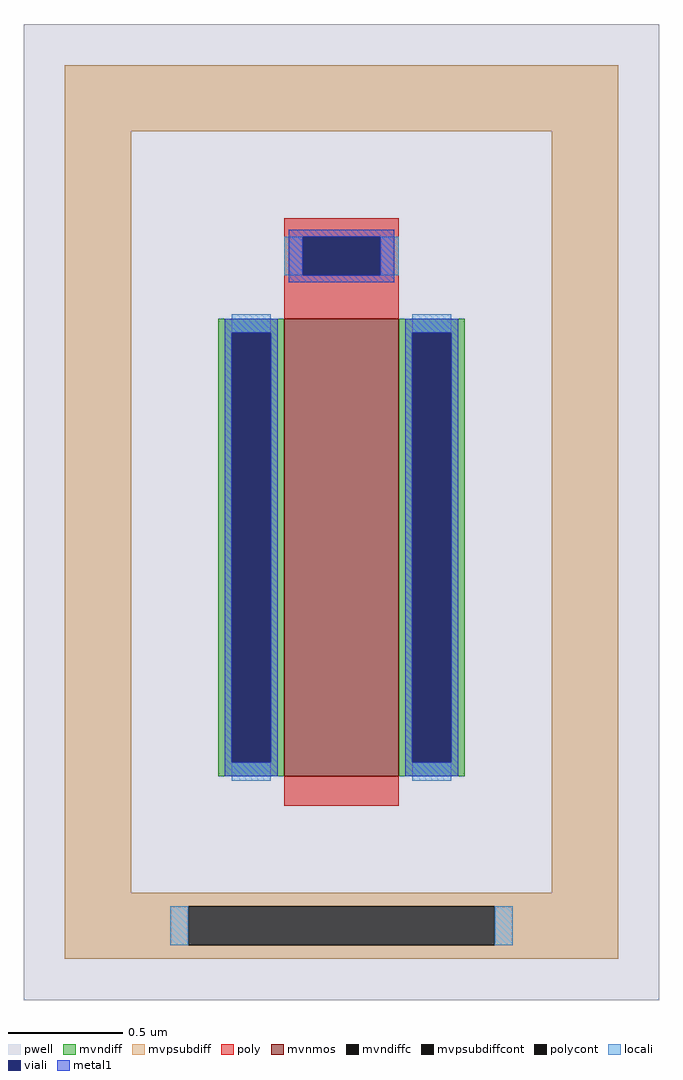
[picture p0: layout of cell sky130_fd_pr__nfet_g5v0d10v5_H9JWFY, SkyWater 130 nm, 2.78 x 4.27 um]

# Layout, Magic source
magic
tech sky130A
magscale 1 2
<< pwell >>
rect -278 -427 278 427
<< mvnmos >>
rect -50 -231 50 169
<< mvndiff >>
rect -108 157 -50 169
rect -108 -219 -96 157
rect -62 -219 -50 157
rect -108 -231 -50 -219
rect 50 157 108 169
rect 50 -219 62 157
rect 96 -219 108 157
rect 50 -231 108 -219
<< mvndiffc >>
rect -96 -219 -62 157
rect 62 -219 96 157
<< mvpsubdiff >>
rect -242 333 242 391
rect -242 -333 -184 333
rect 184 -333 242 333
rect -242 -345 242 -333
rect -242 -379 -134 -345
rect 134 -379 242 -345
rect -242 -391 242 -379
<< mvpsubdiffcont >>
rect -134 -379 134 -345
<< poly >>
rect -50 241 50 257
rect -50 207 -34 241
rect 34 207 50 241
rect -50 169 50 207
rect -50 -257 50 -231
<< polycont >>
rect -34 207 34 241
<< locali >>
rect -50 207 -34 241
rect 34 207 50 241
rect -96 157 -62 173
rect -96 -235 -62 -219
rect 62 157 96 173
rect 62 -235 96 -219
rect -150 -379 -134 -345
rect 134 -379 150 -345
<< viali >>
rect -34 207 34 241
rect -96 -219 -62 157
rect 62 -219 96 157
<< metal1 >>
rect -46 241 46 247
rect -46 207 -34 241
rect 34 207 46 241
rect -46 201 46 207
rect -102 157 -56 169
rect -102 -219 -96 157
rect -62 -219 -56 157
rect -102 -231 -56 -219
rect 56 157 102 169
rect 56 -219 62 157
rect 96 -219 102 157
rect 56 -231 102 -219
<< properties >>
string gencell sky130_fd_pr__nfet_g5v0d10v5
string FIXED_BBOX -213 -362 213 362
string parameters w 2 l 0.50 m 1 nf 1 diffcov 100 polycov 100 guard 1 glc 0 grc 0 gtc 0 gbc 1 tbcov 100 rlcov 100 topc 1 botc 0 poverlap 0 doverlap 1 lmin 0.50 wmin 0.42 compatible {sky130_fd_pr__nfet_01v8 sky130_fd_pr__nfet_01v8_lvt  sky130_fd_bs_flash__special_sonosfet_star  sky130_fd_pr__nfet_g5v0d10v5 sky130_fd_pr__nfet_05v0_nvt  sky130_fd_pr__nfet_03v3_nvt} full_metal 0 viasrc 100 viadrn 100 viagate 100 viagb 0 viagr 0 viagl 0 viagt 0
string library sky130
<< end >>
